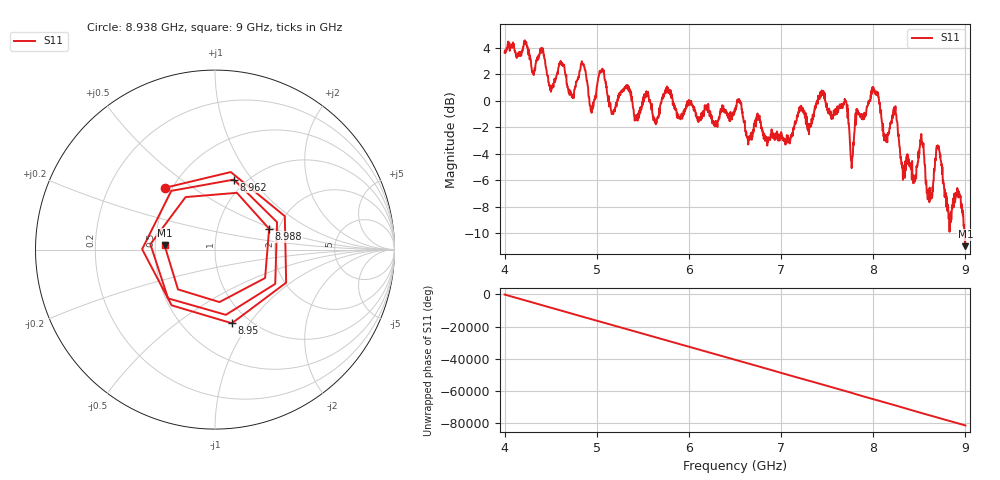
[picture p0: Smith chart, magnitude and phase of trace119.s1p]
! Created with skrf 1.8.0 (http://scikit-rf.org).
# Hz S RI R 50.0
!freq ReS11 ImS11
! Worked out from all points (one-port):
!   1601 points, 4 GHz to 9 GHz, reference 50 ohm
!   lowest |S11| = -11.0 dB at 9 GHz (marker M1), VSWR 1.79, Z = 28 + j1.44 ohm
!   |S11| at or under -10 dB: 8.991493 GHz to end of sweep
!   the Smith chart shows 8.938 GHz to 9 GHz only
!   S11 on the Smith chart (normalised r, x): 8.938 GHz: 0.46, +0.39; 8.95 GHz: 0.83, -0.83; 8.962 GHz: 0.88, +0.82; 8.988 GHz: 1.79, +0.46; 9 GHz: 0.56, +0.03
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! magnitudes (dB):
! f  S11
! 4 GHz  3.6
! 4.403 GHz  4.0
! 4.506 GHz  0.8
! 4.625 GHz  2.9
! 4.728 GHz  0.3
! 4.853 GHz  2.7
! 4.944 GHz  -0.9
! 5.05 GHz  2.2
! 5.159 GHz  -0.8
! 5.25 GHz  0.5
! 5.875 GHz  -1.3
! 6.5 GHz  -0.8
! 7.125 GHz  -2.6
! 7.447 GHz  0.6
! 7.694 GHz  0.0
! 7.75 GHz  -3.3
! 8.006 GHz  0.9
! 8.375 GHz  -4.2
! 8.45 GHz  -6.1
! 8.528 GHz  -3.2
! 8.616 GHz  -7.4
! 8.706 GHz  -3.6
! 8.828 GHz  -9.9
! 8.938 GHz  -7.1
! 8.95 GHz  -7.5
! 8.962 GHz  -7.9
! 8.988 GHz  -9.8
! 9 GHz  -11.0
